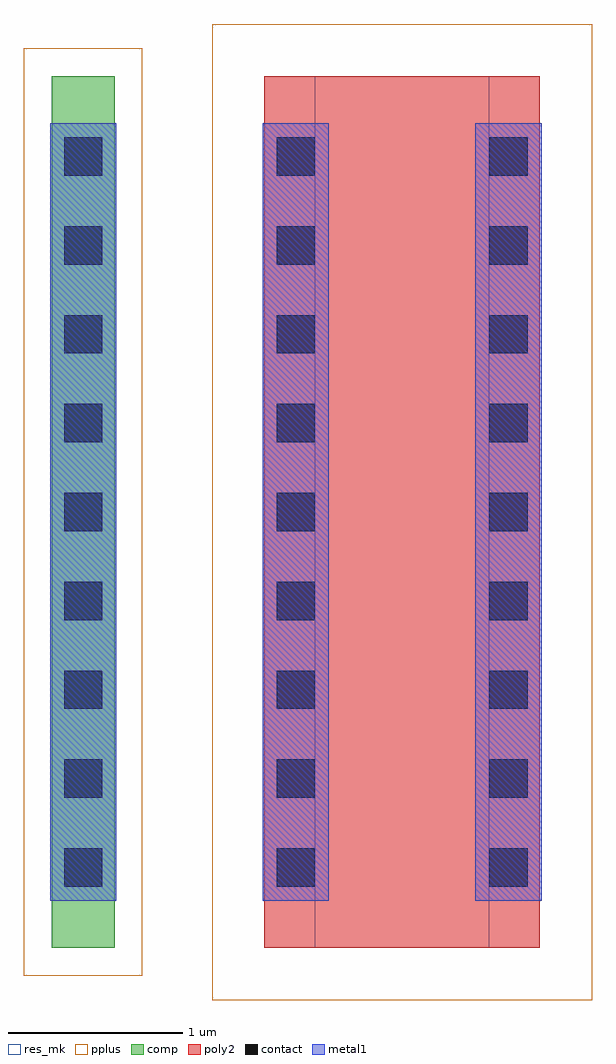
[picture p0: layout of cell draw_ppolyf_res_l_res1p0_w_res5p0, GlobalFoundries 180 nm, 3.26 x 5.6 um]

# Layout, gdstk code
import gdstk
lib = gdstk.Library(unit=1e-6, precision=1e-09)
def R(c, l, rs):  # rectangles x0, y0, x1, y1
    for r in rs: c.add(gdstk.rectangle(r[:2], r[2:], *l))
def A(c, l, x, y, w, h, nx, ny, dx, dy):  # array of equal rectangles
    R(c, l, [(x+i*dx, y+j*dy, x+i*dx+w, y+j*dy+h) for i in range(nx) for j in range(ny)])
comp = (22, 0)
poly2 = (30, 0)
pplus = (31, 0)
contact = (33, 0)
metal1 = (34, 0)
res_mk = (110, 5)

draw_ppolyf_res_l_res1p0 = lib.new_cell('draw_ppolyf_res_l_res1p0_w_res5p0')
R(draw_ppolyf_res_l_res1p0, comp, [(-1.51,0,-1.15,5)])
R(draw_ppolyf_res_l_res1p0, poly2, [(-0.29,0,1.29,5)])
R(draw_ppolyf_res_l_res1p0, pplus, [(-0.59,-0.3,1.59,5.3), (-1.67,-0.16,-0.99,5.16)])
A(draw_ppolyf_res_l_res1p0, contact, -1.44, 0.35, 0.22, 0.22, 3, 9, 1.22, 0.51)
A(draw_ppolyf_res_l_res1p0, metal1, -1.52, 0.27, 0.38, 4.46, 3, 1, 1.22, 0)
R(draw_ppolyf_res_l_res1p0, res_mk, [(0,0,1,5)])

lib.write_gds('draw_ppolyf_res_l_res1p0_w_res5p0.gds')
